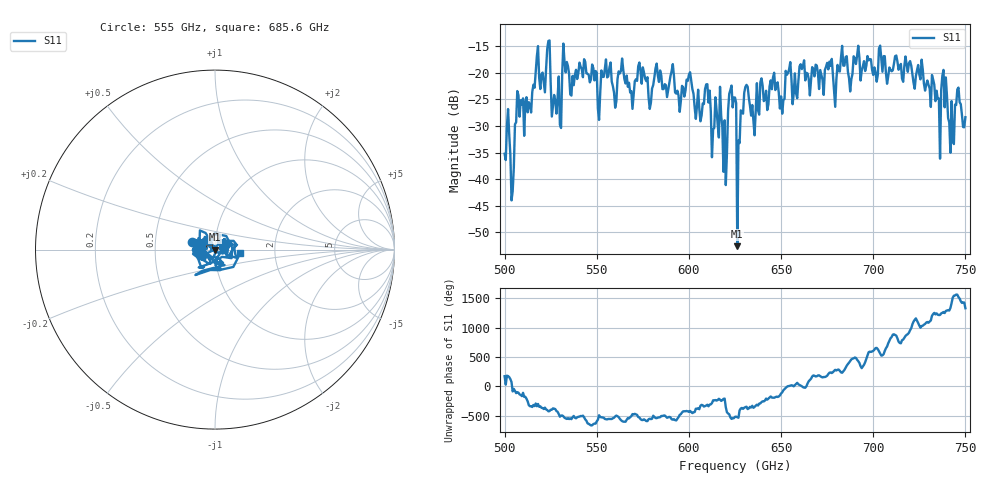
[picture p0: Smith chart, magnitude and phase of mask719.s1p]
!Created with skrf (http://scikit-rf.org).
# GHz S MA R 50.0
!freq magS11 angS11
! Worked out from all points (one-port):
!   401 points, 500 GHz to 750 GHz, reference 50 ohm
!   lowest |S11| = -52.6 dB at 626.2 GHz (marker M1), VSWR 1.00, Z = 49.8 - j0.0564 ohm
!   |S11| at or under -10 dB: start of sweep to end of sweep
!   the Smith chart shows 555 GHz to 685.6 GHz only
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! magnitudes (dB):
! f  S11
! 500 GHz  -35.2
! 504.4 GHz  -42.3
! 507.5 GHz  -24.2
! 513.8 GHz  -26.1
! 517.5 GHz  -16.9
! 523.8 GHz  -14.0
! 526.9 GHz  -24.2
! 531.2 GHz  -20.1
! 533.1 GHz  -19.9
! 551.9 GHz  -23.8
! 562.5 GHz  -20.1
! 593.8 GHz  -23.4
! 610 GHz  -22.2
! 619.4 GHz  -28.9
! 623.1 GHz  -22.4
! 625 GHz  -24.7
! 626.2 GHz  -52.6
! 631.2 GHz  -22.3
! 635 GHz  -29.1
! 656.2 GHz  -25.9
! 687.5 GHz  -23.5
! 690.6 GHz  -18.4
! 718.8 GHz  -19.8
! 735 GHz  -24.9
! 738.8 GHz  -26.5
! 742.5 GHz  -25.3
! 745.6 GHz  -23.1
! 750 GHz  -28.4
